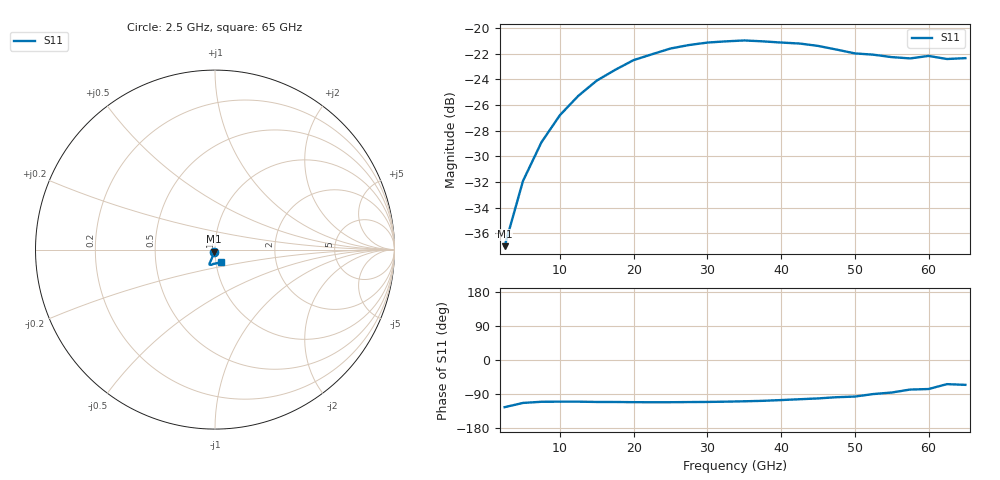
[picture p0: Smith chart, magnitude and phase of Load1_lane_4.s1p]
! File created by SignalIntegrity v1.5.1: Signal and Power Integrity Tools
! https://github.com/Nubis-Communications/SignalIntegrity
# MHz S MA R 50.0
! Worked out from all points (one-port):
!   26 points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, 2.5 GHz to 65 GHz, reference 50 ohm
!   lowest |S11| = -37.0 dB at 2.5 GHz (marker M1), VSWR 1.03, Z = 49.2 - j1.15 ohm
!   |S11| at or under -10 dB: start of sweep to end of sweep
2500  0.01412 -124.5
5000  0.02538 -113.3
7500  0.03589 -110.2
10000  0.04576 -109.9
12500  0.05444 -110.0
15000  0.0624 -110.7
17500  0.06874 -110.8
20000  0.07501 -111.3
22500  0.07906 -111.4
25000  0.08324 -111.4
27500  0.08586 -111.0
30000  0.08779 -110.7
32500  0.08875 -110.0
35000  0.08947 -109.0
37500  0.08876 -107.7
40000  0.08781 -105.7
42500  0.08704 -103.6
45000  0.08522 -101.4
47500  0.08247 -98.2
50000  0.07966 -96.5
52500  0.07876 -89.9
55000  0.07706 -85.8
57500  0.07615 -78.0
60000  0.07788 -76.6
62500  0.07574 -63.7
65000  0.07635 -65.6
